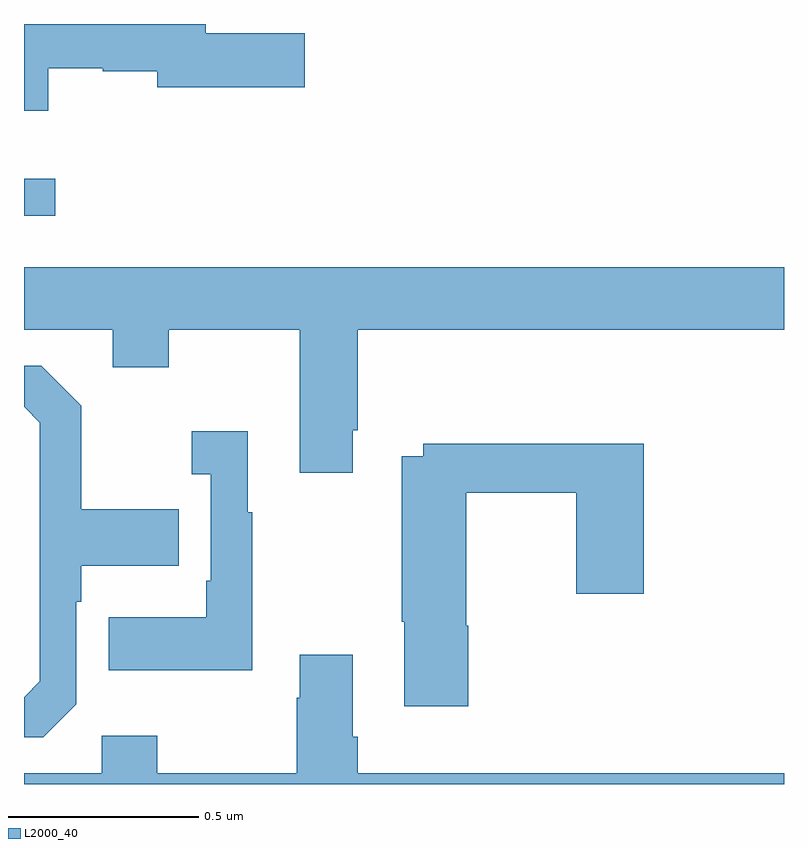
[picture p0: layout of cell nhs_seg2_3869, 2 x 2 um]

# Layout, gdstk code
import gdstk
lib = gdstk.Library(unit=1e-6, precision=1e-09)
def R(c, l, rs):  # rectangles x0, y0, x1, y1
    for r in rs: c.add(gdstk.rectangle(r[:2], r[2:], *l))
def P(c, l, *ps):  # polygons
    for p in ps: c.add(gdstk.Polygon(p, *l))
L2000_40 = (2000, 40)

nhs_seg2_3869 = lib.new_cell('nhs_seg2_3869')
R(nhs_seg2_3869, L2000_40, [(159,621.296,159.082,621.393)])
P(nhs_seg2_3869, L2000_40, [(159.064,621.684),(159.207,621.684),(159.207,621.676),(159.35,621.676),(159.35,621.634),(159.739,621.634),(159.739,621.776),(159.478,621.776),(159.478,621.8),(159,621.8),(159,621.572),(159.064,621.572)],
  [(159.865,620.731),(159.878,620.731),(159.878,620.996),(161,620.996),(161,621.16),(159,621.16),(159,620.996),(159.233,620.996),(159.233,620.897),(159.381,620.897),(159.381,620.996),(159.725,620.996),(159.725,620.619),(159.865,620.619)],
  [(159.138,620.01),(159.138,620.279),(159.151,620.279),(159.151,620.375),(159.407,620.375),(159.407,620.523),(159.151,620.523),(159.151,620.795),(159.045,620.901),(159,620.901),(159,620.793),(159.042,620.751),(159.042,620.07),(159,620.028),(159,619.923),(159.051,619.923)],
  [(159.601,620.515),(159.589,620.515),(159.589,620.728),(159.441,620.728),(159.441,620.615),(159.492,620.615),(159.492,620.335),(159.48,620.335),(159.48,620.239),(159.223,620.239),(159.223,620.099),(159.601,620.099)],
  [(160.169,620.216),(160.164,620.216),(160.164,620.566),(160.453,620.566),(160.453,620.301),(160.631,620.301),(160.631,620.695),(160.05,620.695),(160.05,620.662),(159.994,620.662),(159.994,620.227),(160.001,620.227),(160.001,620.004),(160.169,620.004)],
  [(161,619.828),(159.878,619.828),(159.878,619.924),(159.865,619.924),(159.865,620.14),(159.725,620.14),(159.725,620.027),(159.718,620.027),(159.718,619.828),(159.351,619.828),(159.351,619.927),(159.204,619.927),(159.204,619.828),(159,619.828),(159,619.8),(161,619.8)])

lib.write_gds('nhs_seg2_3869.gds')
